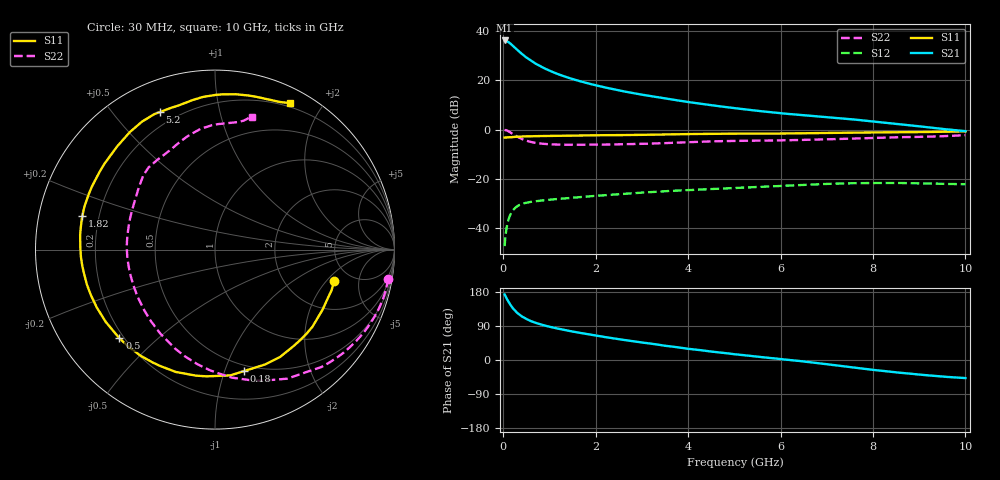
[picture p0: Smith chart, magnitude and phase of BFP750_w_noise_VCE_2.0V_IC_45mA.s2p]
! Infineon Technologies  Discrete & RF Semiconductors
! BFP750
! VCE =  2.0 V,  IC =  45 mA
! Common Emitter S-Parameters:  Jan 2016
# GHz  S  MA  R  50
!  f  S11  S21  S12  S22
! GHz  MAG  ANG  MAG  ANG  MAG  ANG  MAG  ANG
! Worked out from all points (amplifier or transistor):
!   229 points, 30 MHz to 10 GHz, reference 50 ohm
!   highest |S21| = 36.3 dB at 30 MHz (marker M1)
!   |S21| within 3 dB of that: start of sweep to 256.6 MHz
!   unconditionally stable (mu >= 1): 4.077 GHz to end of sweep
!   at 280 MHz: K = 0.16, MSG = 32.2 dB, |S12| = -31.6 dB
!   at 1.78 GHz: K = 0.69, MSG = 23.2 dB, |S12| = -27.4 dB
!   at 10 GHz: K = 1.06, MAG = 9.4 dB, |S12| = -22.3 dB
!   lowest NFmin = 0.99 dB at 450 MHz
!   S11 on the Smith chart (normalised r, x): 30 MHz: 3.71, -2.43; 180 MHz: 0.44, -1.17; 500 MHz: 0.18, -0.38; 1.82 GHz: 0.14, +0.12; 5.2 GHz: 0.14, +0.67; 10 GHz: 0.16, +1.62
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0.03  0.6864 -14.6  65.4 172.9  0.0042 84.2  0.9795 -9.6
0.06  0.6865 -29.0  64.62 165.6  0.0083 77.7  0.9703 -19.9
0.1  0.6926 -46.9  61.69 156.5  0.0131 69.6  0.9373 -32.9
0.15  0.6983 -66.4  57.04 146.5  0.0181 61.0  0.8827 -47.8
0.18  0.6958 -76.5  53.75 141.5  0.0205 56.3  0.8421 -55.4
0.2  0.706 -83.1  51.81 137.8  0.0221 53.8  0.8239 -60.8
0.24  0.7076 -93.7  47.85 132.3  0.0244 49.1  0.7774 -69.9
0.3  0.7158 -107.8  42.43 124.6  0.0273 43.4  0.7199 -82.4
0.4  0.722 -124.9  35.02 115.2  0.0303 36.6  0.6446 -99.1
0.5  0.7264 -137.2  29.47 108.1  0.0322 32.2  0.5932 -112.3
0.7  0.7334 -153.9  22.08 98.1  0.0346 27.3  0.5354 -131.8
0.9  0.74 -164.9  17.53 90.8  0.0364 24.8  0.509 -145.5
1.2  0.7482 -177.0  13.3 82.3  0.0386 22.9  0.4938 -160.1
1.7  0.7599 168.7  9.438 70.8  0.0422 21.4  0.4904 -176.6
1.82  0.7623 165.8  8.797 68.2  0.0431 21.1  0.4908 -179.7
2.6  0.7718 149.4  6.011 53.1  0.0488 18.8  0.5012 162.3
3.4  0.7884 135.1  4.452 39.6  0.0547 15.3  0.5247 148.1
5.1  0.8263 113.0  2.664 14.1  0.0652 6.6  0.5893 127.7
5.2  0.826 111.9  2.598 12.8  0.0658 6.0  0.5901 126.5
6.8  0.8472 96.5  1.861 -8.1  0.0765 -4.3  0.6249 109.5
8.4  0.8787 77.6  1.337 -31.2  0.0816 -19.2  0.6926 91.6
10  0.9186 62.9  0.929 -47.7  0.0766 -30.4  0.7689 74.6
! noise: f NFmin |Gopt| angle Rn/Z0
0.45  0.99  0.17  -167  0.46
0.9  1.01  0.22  -161  0.23
1.5  1.02  0.32  -156  0.09
1.9  1.03  0.33  -150  0.08
2.4  1.05  0.35  -144  0.09
3.5  1.28  0.37  -129  0.09
